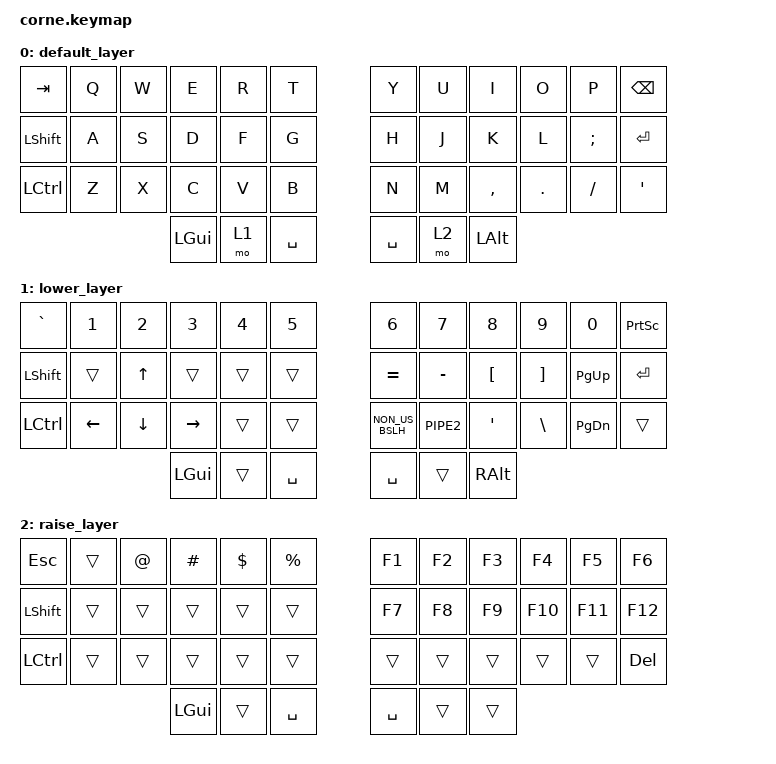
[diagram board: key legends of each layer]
/*
 * Copyright (c) 2020 The ZMK Contributors
 *
 * SPDX-License-Identifier: MIT
 */

#include <behaviors.dtsi>
#include <dt-bindings/zmk/keys.h>
#include <dt-bindings/zmk/bt.h>

/ {
        keymap {
                compatible = "zmk,keymap";

                default_layer {
// -----------------------------------------------------------------------------------------
// |  TAB |  Q  |  W  |  E  |  R  |  T  |   |  Y  |  U   |  I  |  O  |  P  | BSPC |
// | SHFT |  A  |  S  |  D  |  F  |  G  |   |  H  |  J   |  K  |  L  |  ;  | ENT  |
// | CTRL |  Z  |  X  |  C  |  V  |  B  |   |  N  |  M   |  ,  |  .  |  -  |  ´   |
//                    | GUI | LWR | SPC |   | SPC | RSE  | ALT |
                        bindings = <
   &kp TAB   &kp Q &kp W &kp E &kp R &kp T   &kp Y &kp U  &kp I     &kp O   &kp P    &kp BSPC
   &kp LSHFT &kp A &kp S &kp D &kp F &kp G   &kp H &kp J  &kp K     &kp L   &kp SEMI &kp RET
   &kp LCTRL &kp Z &kp X &kp C &kp V &kp B   &kp N &kp M  &kp COMMA &kp DOT &kp SLASH &kp APOS
                  &kp LGUI &mo 1 &kp SPACE   &kp SPACE &mo 2 &kp LALT
                        >;
                };
                lower_layer {
// -----------------------------------------------------------------------------------------
// | GRAVE |  1  |  2  |  3  |  4  |  5  |   |  6  |  7  |  8  |  9  |  0  | PSCRN |
// | SHFT  |     | UP  |     |     |     |   |  =  |  '  |  `  |  +  | PG_UP | ENT |
// | CTRL  | LFT | DWN | RGT |     |     |   |  <  |  >  |  ´  |  ç  | PG_DN |     |
//                     | GUI |     | SPC |   | SPC |     | ALT |
                        bindings = <
   &kp GRAVE  &kp N1    &kp N2    &kp N3     &kp N4  &kp N5    &kp N6           &kp N7     &kp N8    &kp N9         &kp N0  &kp PSCRN
   &kp LSHFT  &trans    &kp UP    &trans     &trans  &trans    &kp EQUAL        &kp MINUS  &kp LBKT  &kp RBKT       &kp PG_UP  &kp RET
   &kp LCTRL  &kp LEFT  &kp DOWN  &kp RIGHT  &trans  &trans    &kp NON_US_BSLH  &kp PIPE2  &kp APOS  &kp BACKSLASH  &kp PG_DN  &trans
                              &kp LGUI   &trans   &kp SPACE    &kp SPACE  &trans   &kp RALT
                        >;
                };

                raise_layer {
// -----------------------------------------------------------------------------------------
// | ESC  |     |  @  |  #  |  $  |  %  |   | F1 | F2 | F3 | F4 | F5 | F6 |
// | SHFT |     |     |     |     |     |   | F7 | F8 | F9 | F10 | F11 | F12 |
// | CTRL |     |     |     |     |     |   |    |    |    |     |     | DEL |
//                    | GUI |     | SPC |   | SPC |     | ALT |
                        bindings = <
   &kp ESC   &trans &kp AT &kp HASH &kp DLLR &kp PRCNT     &kp F1 &kp F2 &kp F3 &kp F4 &kp F5 &kp F6
   &kp LSHFT &trans   &trans &trans   &trans   &trans      &kp F7 &kp F8 &kp F9 &kp F10 &kp F11 &kp F12
   &kp LCTRL &trans   &trans &trans   &trans   &trans      &trans &trans &trans &trans  &trans  &kp DEL
                             &kp LGUI &trans   &kp SPACE   &kp SPACE   &trans   &trans
                        >;
                };
        };
};
